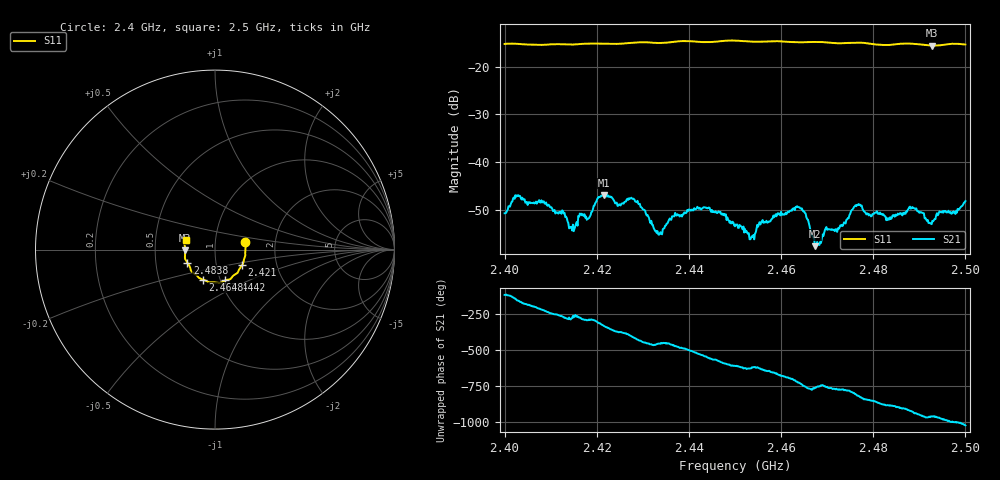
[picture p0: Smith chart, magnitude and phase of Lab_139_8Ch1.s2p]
# Hz S RI R 50
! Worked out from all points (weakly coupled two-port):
!   601 points, 2.4 GHz to 2.5 GHz, reference 50 ohm
!   highest |S21| = -46.92 dB at 2.4215 GHz (marker M1); lowest = -57.7 dB at 2.4673 GHz (marker M2)
!   lowest |S11| = -15.6 dB at 2.4928 GHz (marker M3), VSWR 1.40, Z = 35.8 - j0.357 ohm
!   |S11| at or under -10 dB: start of sweep to end of sweep
!   S12 and S22 are empty: the file has one direction only
!   S11 on the Smith chart (normalised r, x): 2.4 GHz: 1.40, +0.12; 2.421 GHz: 1.33, -0.24; 2.4442 GHz: 1.05, -0.37; 2.4648 GHz: 0.83, -0.29; 2.4838 GHz: 0.73, -0.11; 2.5 GHz: 0.72, +0.08
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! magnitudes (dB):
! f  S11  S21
! 2.4 GHz  -15.2  -50.8
! 2.4028 GHz  -15.2  -47.2
! 2.4125 GHz  -15.3  -50.2
! 2.4145 GHz  -15.4  -53.7
! 2.4167 GHz  -15.2  -50.9
! 2.421 GHz  -15.2  -47.1
! 2.4215 GHz  -15.2  -46.9
! 2.4283 GHz  -14.9  -48.3
! 2.4333 GHz  -15.0  -55.2
! 2.4442 GHz  -14.9  -49.7
! 2.45 GHz  -14.5  -53.5
! 2.4537 GHz  -14.8  -55.6
! 2.4557 GHz  -14.8  -52.7
! 2.4648 GHz  -14.9  -50.4
! 2.4667 GHz  -14.8  -55.3
! 2.4673 GHz  -14.8  -57.7
! 2.4765 GHz  -15.0  -49.0
! 2.4833 GHz  -15.5  -51.8
! 2.4838 GHz  -15.4  -52.0
! 2.4883 GHz  -15.2  -49.7
! 2.4928 GHz  -15.6  -52.4
! 2.5 GHz  -15.4  -48.2
